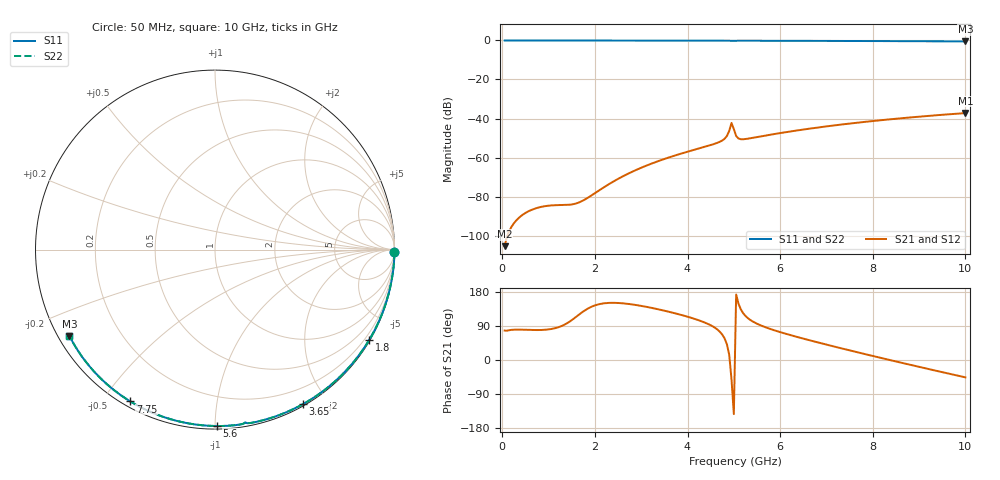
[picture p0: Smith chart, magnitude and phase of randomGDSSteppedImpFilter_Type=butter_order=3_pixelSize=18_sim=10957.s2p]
! freq	dB(S11)	phase(S11)	dB(S12)	phase(S12)
!  dB(S21)	phase(S21)	dB(S22)	phase(S22)
!S-par simulation data
#  GHz  S  DB  R 50
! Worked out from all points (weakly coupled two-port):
!   200 points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, 50 MHz to 10 GHz, reference 50 ohm
!   highest |S21| = -37.21 dB at 10 GHz (marker M1); lowest = -105.4 dB at 50 MHz (marker M2)
!   lowest |S11| = -0.5 dB at 10 GHz (marker M3), VSWR 34.13, Z = 1.58 - j13.7 ohm
!   |S11| at or under -10 dB: nowhere
!   |S22| runs from -0.5 to 0.0 dB; largest |S21 - S12| = 0
!   S11 on the Smith chart (normalised r, x): 50 MHz: open; 1.8 GHz: 0.03, -3.67; 3.65 GHz: 0.02, -1.72; 5.6 GHz: 0.02, -1.01; 7.75 GHz: 0.02, -0.59; 10 GHz: 0.03, -0.27
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0.05  -0.00 -0.9  -105.41 77.8  -105.41 77.8  -0.00 -0.9
0.9  -0.02 -15.4  -84.99 79.6  -84.99 79.6  -0.02 -15.4
1.75  -0.04 -29.7  -81.95 128.2  -81.95 128.2  -0.04 -29.6
1.8  -0.04 -30.5  -81.28 132.2  -81.28 132.2  -0.04 -30.5
1.9  -0.04 -32.1  -79.82 139.0  -79.82 139.0  -0.04 -32.1
2.35  -0.05 -39.5  -72.95 150.9  -72.95 150.9  -0.05 -39.5
2.7  -0.06 -45.2  -68.46 148.3  -68.46 148.3  -0.06 -45.2
3.4  -0.07 -56.3  -61.55 132.9  -61.55 132.9  -0.07 -56.3
3.65  -0.08 -60.2  -59.54 125.7  -59.54 125.7  -0.08 -60.2
4.55  -0.11 -74.0  -53.24 88.4  -53.24 88.4  -0.11 -74.0
4.75  -0.12 -77.0  -51.26 67.1  -51.26 67.1  -0.12 -77.0
4.85  -0.12 -78.6  -48.97 41.5  -48.97 41.5  -0.12 -78.6
4.9  -0.14 -79.4  -46.35 13.8  -46.35 13.8  -0.14 -79.4
4.95  -0.21 -80.1  -42.26 -51.6  -42.26 -51.6  -0.20 -80.1
5.05  -0.14 -81.2  -48.96 172.8  -48.96 172.8  -0.14 -81.1
5.1  -0.14 -82.0  -50.24 148.6  -50.24 148.6  -0.14 -81.9
5.2  -0.13 -83.5  -50.63 123.7  -50.63 123.7  -0.13 -83.5
5.6  -0.15 -89.3  -49.09 90.3  -49.09 90.3  -0.15 -89.3
6.7  -0.21 -104.8  -44.98 50.0  -44.98 50.0  -0.20 -104.8
7.75  -0.28 -119.1  -41.92 18.0  -41.92 18.0  -0.28 -119.1
8.35  -0.33 -127.2  -40.45 0.4  -40.45 0.4  -0.33 -127.1
10  -0.51 -149.3  -37.21 -45.8  -37.21 -45.8  -0.51 -149.3
